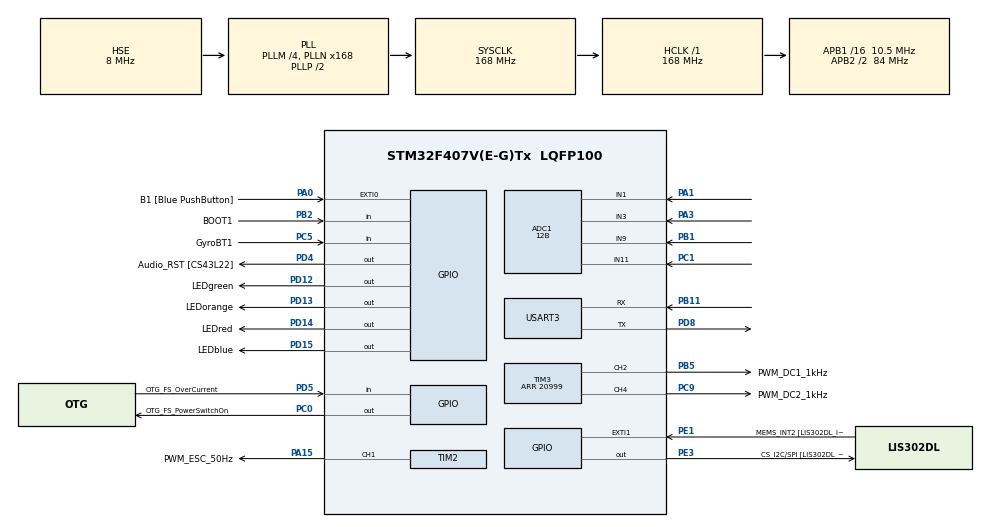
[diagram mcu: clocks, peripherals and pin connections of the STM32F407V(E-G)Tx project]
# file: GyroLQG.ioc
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ADC1.Channel-0\#ChannelRegularConversion=ADC_CHANNEL_1
ADC1.Channel-4\#ChannelRegularConversion=ADC_CHANNEL_3
ADC1.Channel-5\#ChannelRegularConversion=ADC_CHANNEL_9
ADC1.Channel-6\#ChannelRegularConversion=ADC_CHANNEL_11
ADC1.ClockPrescaler=ADC_CLOCK_SYNC_PCLK_DIV4
ADC1.ContinuousConvMode=ENABLE
ADC1.DMAContinuousRequests=ENABLE
ADC1.DataAlign=ADC_DATAALIGN_RIGHT
ADC1.DiscontinuousConvMode=DISABLE
ADC1.EOCSelection=ADC_EOC_SINGLE_CONV
ADC1.EnableAnalogWatchDog=false
ADC1.ExternalTrigConv=ADC_SOFTWARE_START
ADC1.ExternalTrigConvEdge=ADC_EXTERNALTRIGCONVEDGE_NONE
ADC1.InjNumberOfConversion=0
ADC1.NbrOfConversion=4
ADC1.NbrOfConversionFlag=1
ADC1.Rank-0\#ChannelRegularConversion=1
ADC1.Rank-4\#ChannelRegularConversion=2
ADC1.Rank-5\#ChannelRegularConversion=3
ADC1.Rank-6\#ChannelRegularConversion=4
ADC1.Resolution=ADC_RESOLUTION_12B
ADC1.SamplingTime-0\#ChannelRegularConversion=ADC_SAMPLETIME_3CYCLES
ADC1.SamplingTime-4\#ChannelRegularConversion=ADC_SAMPLETIME_3CYCLES
ADC1.SamplingTime-5\#ChannelRegularConversion=ADC_SAMPLETIME_3CYCLES
ADC1.SamplingTime-6\#ChannelRegularConversion=ADC_SAMPLETIME_3CYCLES
ADC1.ScanConvMode=ENABLE
ADC1.master=1
Dma.ADC1.0.Direction=DMA_PERIPH_TO_MEMORY
Dma.ADC1.0.FIFOMode=DMA_FIFOMODE_ENABLE
Dma.ADC1.0.FIFOThreshold=DMA_FIFO_THRESHOLD_HALFFULL
Dma.ADC1.0.Instance=DMA2_Stream0
Dma.ADC1.0.MemBurst=DMA_MBURST_SINGLE
Dma.ADC1.0.MemDataAlignment=DMA_MDATAALIGN_HALFWORD
Dma.ADC1.0.MemInc=DMA_MINC_ENABLE
Dma.ADC1.0.Mode=DMA_CIRCULAR
Dma.ADC1.0.PeriphBurst=DMA_PBURST_SINGLE
Dma.ADC1.0.PeriphDataAlignment=DMA_PDATAALIGN_HALFWORD
Dma.ADC1.0.PeriphInc=DMA_PINC_DISABLE
Dma.ADC1.0.Priority=DMA_PRIORITY_VERY_HIGH
Dma.Request0=ADC1
Mcu.Family=STM32F4
Mcu.Name=STM32F407V(E-G)Tx
Mcu.Package=LQFP100
NVIC.DMA2_Stream0_IRQn=true\:0\:0\:false\:false\:true
NVIC.PriorityGroup=NVIC_PRIORITYGROUP_0
PA0-WKUP.GPIO_Label=B1 [Blue PushButton]
PA0-WKUP.GPIO_ModeDefaultEXTI=GPIO_MODE_EVT_RISING
PA0-WKUP.GPIO_PuPd=GPIO_NOPULL
PA0-WKUP.Signal=GPXTI0
PA1.Signal=ADCx_IN1
PA10.GPIO_Label=OTG_FS_ID
PA10.GPIO_Mode=GPIO_MODE_AF_PP
PA10.GPIO_PuPd=GPIO_NOPULL
PA10.GPIO_Speed=GPIO_SPEED_FREQ_LOW
PA10.Signal=USB_OTG_FS_ID
PA11.GPIO_Label=OTG_FS_DM
PA11.GPIO_Mode=GPIO_MODE_AF_PP
PA11.GPIO_PuPd=GPIO_NOPULL
PA11.GPIO_Speed=GPIO_SPEED_FREQ_LOW
PA11.Signal=USB_OTG_FS_DM
PA12.GPIO_Label=OTG_FS_DP
PA12.GPIO_Mode=GPIO_MODE_AF_PP
PA12.GPIO_PuPd=GPIO_NOPULL
PA12.GPIO_Speed=GPIO_SPEED_FREQ_LOW
PA12.Signal=USB_OTG_FS_DP
PA13.GPIO_Label=SWDIO
PA13.Mode=Serial_Wire
PA13.Signal=SYS_JTMS-SWDIO
PA14.GPIO_Label=SWCLK
PA14.Mode=Serial_Wire
PA14.Signal=SYS_JTCK-SWCLK
PA15.GPIO_Label=PWM_ESC_50Hz
PA15.Signal=S_TIM2_CH1_ETR
PA3.Signal=ADCx_IN3
PA4.GPIO_Label=I2S3_WS [CS43L22_LRCK]
PA4.GPIO_Mode=GPIO_MODE_AF_PP
PA4.GPIO_PuPd=GPIO_NOPULL
PA4.GPIO_Speed=GPIO_SPEED_FREQ_LOW
PA4.Signal=I2S3_WS
PA5.GPIO_Label=SPI1_SCK [LIS302DL_SCL/SPC]
PA5.GPIO_Mode=GPIO_MODE_AF_PP
PA5.GPIO_PuPd=GPIO_NOPULL
PA5.GPIO_Speed=GPIO_SPEED_FREQ_LOW
PA5.Signal=SPI1_SCK
PA6.GPIO_Label=SPI1_MISO [LIS302DL_SDO]
PA6.GPIO_Mode=GPIO_MODE_AF_PP
PA6.GPIO_PuPd=GPIO_NOPULL
PA6.GPIO_Speed=GPIO_SPEED_FREQ_LOW
PA6.Signal=SPI1_MISO
PA7.GPIO_Label=SPI1_MOSI [LIS302DL_SDA/SDI/SDO]
PA7.GPIO_Mode=GPIO_MODE_AF_PP
PA7.GPIO_PuPd=GPIO_NOPULL
PA7.GPIO_Speed=GPIO_SPEED_FREQ_LOW
PA7.Signal=SPI1_MOSI
PA9.GPIO_Label=VBUS_FS
PA9.GPIO_Mode=GPIO_MODE_INPUT
PA9.GPIO_PuPd=GPIO_NOPULL
PA9.Signal=USB_OTG_FS_VBUS
PB1.Signal=ADCx_IN9
PB10.GPIO_Label=CLK_IN [MP45DT02_CLK]
PB10.GPIO_Mode=GPIO_MODE_AF_PP
PB10.GPIO_PuPd=GPIO_NOPULL
PB10.GPIO_Speed=GPIO_SPEED_FREQ_LOW
PB10.Signal=I2S2_CK
PB11.Mode=Asynchronous
PB11.Signal=USART3_RX
PB2.GPIO_Label=BOOT1
PB2.GPIO_Mode=GPIO_MODE_INPUT
PB2.GPIO_PuPd=GPIO_NOPULL
PB2.Signal=GPIO_Input
PB3.GPIO_Label=SWO
PB3.Signal=SYS_JTDO-SWO
PB5.GPIO_Label=PWM_DC1_1kHz
PB5.Signal=S_TIM3_CH2
PB6.GPIO_Label=Audio_SCL [CS43L22_SCL]
PB6.GPIO_Mode=GPIO_MODE_AF_OD
PB6.GPIO_PuPd=GPIO_NOPULL
PB6.GPIO_Speed=GPIO_SPEED_FREQ_LOW
PB6.Signal=I2C1_SCL
PB9.GPIO_Label=Audio_SDA [CS43L22_SDA]
PB9.GPIO_Mode=GPIO_MODE_AF_OD
PB9.GPIO_PuPd=GPIO_NOPULL
PB9.GPIO_Speed=GPIO_SPEED_FREQ_LOW
PB9.Signal=I2C1_SDA
PC0.GPIO_Label=OTG_FS_PowerSwitchOn
PC0.GPIO_PuPd=GPIO_NOPULL
PC0.GPIO_Speed=GPIO_SPEED_FREQ_LOW
PC0.PinState=GPIO_PIN_SET
PC0.Signal=GPIO_Output
PC1.Signal=ADCx_IN11
PC10.GPIO_Label=I2S3_SCK [CS43L22_SCLK]
PC10.GPIO_Mode=GPIO_MODE_AF_PP
PC10.GPIO_PuPd=GPIO_NOPULL
PC10.GPIO_Speed=GPIO_SPEED_FREQ_LOW
PC10.Signal=I2S3_CK
PC12.GPIO_Label=I2S3_SD [CS43L22_SDIN]
PC12.GPIO_Mode=GPIO_MODE_AF_PP
PC12.GPIO_PuPd=GPIO_NOPULL
PC12.GPIO_Speed=GPIO_SPEED_FREQ_LOW
PC12.Signal=I2S3_SD
PC14-OSC32_IN.GPIO_Label=PC14-OSC32_IN
PC14-OSC32_IN.Signal=RCC_OSC32_IN
PC15-OSC32_OUT.GPIO_Label=PC15-OSC32_OUT
PC15-OSC32_OUT.Signal=RCC_OSC32_OUT
PC3.GPIO_Label=PDM_OUT [MP45DT02_DOUT]
PC3.GPIO_Mode=GPIO_MODE_AF_PP
PC3.GPIO_PuPd=GPIO_NOPULL
PC3.GPIO_Speed=GPIO_SPEED_FREQ_LOW
PC3.Signal=I2S2_SD
PC5.GPIO_Label=GyroBT1
PC5.GPIO_PuPd=GPIO_PULLDOWN
PC5.Signal=GPIO_Input
PC7.GPIO_Label=I2S3_MCK [CS43L22_MCLK]
PC7.GPIO_Mode=GPIO_MODE_AF_PP
PC7.GPIO_PuPd=GPIO_NOPULL
PC7.GPIO_Speed=GPIO_SPEED_FREQ_LOW
PC7.Signal=I2S3_MCK
PC9.GPIO_Label=PWM_DC2_1kHz
PC9.Signal=S_TIM3_CH4
PD12.GPIO_Label=LEDgreen
PD12.GPIO_PuPd=GPIO_PULLUP
PD12.GPIO_Speed=GPIO_SPEED_FREQ_LOW
PD12.Signal=GPIO_Output
PD13.GPIO_Label=LEDorange
PD13.GPIO_PuPd=GPIO_PULLUP
PD13.GPIO_Speed=GPIO_SPEED_FREQ_LOW
PD13.Signal=GPIO_Output
PD14.GPIO_Label=LEDred
PD14.GPIO_PuPd=GPIO_PULLUP
PD14.GPIO_Speed=GPIO_SPEED_FREQ_LOW
PD14.Signal=GPIO_Output
PD15.GPIO_Label=LEDblue
PD15.GPIO_PuPd=GPIO_PULLUP
PD15.GPIO_Speed=GPIO_SPEED_FREQ_LOW
PD15.Signal=GPIO_Output
PD4.GPIO_Label=Audio_RST [CS43L22]
PD4.GPIO_PuPd=GPIO_NOPULL
PD4.GPIO_Speed=GPIO_SPEED_FREQ_LOW
PD4.Signal=GPIO_Output
PD5.GPIO_Label=OTG_FS_OverCurrent
PD5.GPIO_Mode=GPIO_MODE_INPUT
PD5.GPIO_PuPd=GPIO_NOPULL
PD5.Signal=GPIO_Input
PD8.Mode=Asynchronous
PD8.Signal=USART3_TX
PE1.GPIO_Label=MEMS_INT2 [LIS302DL_INT2]
PE1.GPIO_ModeDefaultEXTI=GPIO_MODE_EVT_RISING
PE1.GPIO_PuPd=GPIO_NOPULL
PE1.Signal=GPXTI1
PE3.GPIO_Label=CS_I2C/SPI [LIS302DL_CS_I2C/SPI]
PE3.GPIO_PuPd=GPIO_NOPULL
PE3.GPIO_Speed=GPIO_SPEED_FREQ_LOW
PE3.Signal=GPIO_Output
PH0-OSC_IN.GPIO_Label=PH0-OSC_IN
PH0-OSC_IN.Mode=HSE-External-Oscillator
PH0-OSC_IN.Signal=RCC_OSC_IN
PH1-OSC_OUT.GPIO_Label=PH1-OSC_OUT
PH1-OSC_OUT.Mode=HSE-External-Oscillator
PH1-OSC_OUT.Signal=RCC_OSC_OUT
ProjectManager.HeapSize=0x200
ProjectManager.StackSize=0x400
ProjectManager.TargetToolchain=EWARM
RCC.48MHZClocksFreq_Value=48000000
RCC.AHBFreq_Value=168000000
RCC.APB1CLKDivider=RCC_HCLK_DIV16
RCC.APB1Freq_Value=10500000
RCC.APB1TimFreq_Value=21000000
RCC.APB2CLKDivider=RCC_HCLK_DIV2
RCC.APB2Freq_Value=84000000
RCC.APB2TimFreq_Value=168000000
RCC.CortexFreq_Value=168000000
RCC.HCLKFreq_Value=168000000
RCC.HSE_VALUE=8000000
RCC.HSI_VALUE=16000000
RCC.LSE_VALUE=32768
RCC.PLLM=4
RCC.PLLN=168
RCC.PLLQ=7
RCC.PLLSourceVirtual=RCC_PLLSOURCE_HSE
RCC.SYSCLKFreq_VALUE=168000000
RCC.SYSCLKSource=RCC_SYSCLKSOURCE_PLLCLK
RCC.VCOOutputFreq_Value=336000000
SH.ADCx_IN1.0=ADC1_IN1,IN1
SH.ADCx_IN11.0=ADC1_IN11,IN11
SH.ADCx_IN3.0=ADC1_IN3,IN3
SH.ADCx_IN9.0=ADC1_IN9,IN9
SH.S_TIM2_CH1_ETR.0=TIM2_CH1,PWM Generation1 CH1
SH.S_TIM3_CH2.0=TIM3_CH2,PWM Generation2 CH2
SH.S_TIM3_CH4.0=TIM3_CH4,PWM Generation4 CH4
TIM2.Channel-PWM\ Generation1\ CH1=TIM_CHANNEL_1
TIM2.ClockDivision=TIM_CLOCKDIVISION_DIV4
TIM2.Period=419999
TIM3.Channel-PWM\ Generation2\ CH2=TIM_CHANNEL_2
TIM3.Channel-PWM\ Generation4\ CH4=TIM_CHANNEL_4
TIM3.ClockDivision=TIM_CLOCKDIVISION_DIV4
TIM3.Period=20999
USART3.VirtualMode=VM_ASYNC
board=STM32F4DISCOVERY

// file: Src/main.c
/**
  ******************************************************************************
  * File Name          : main.c
  * Description        : Main program body
  ******************************************************************************
  ** This notice applies to any and all portions of this file
  * that are not between comment pairs USER CODE BEGIN and
  * USER CODE END. Other portions of this file, whether
  * inserted by the user or by software development tools
  * are owned by their respective copyright owners.
  *
  * COPYRIGHT(c) 2018 STMicroelectronics
  *
  * Redistribution and use in source and binary forms, with or without modification,
  * are permitted provided that the following conditions are met:
  *   1. Redistributions of source code must retain the above copyright notice,
  *      this list of conditions and the following disclaimer.
  *   2. Redistributions in binary form must reproduce the above copyright notice,
  *      this list of conditions and the following disclaimer in the documentation
  *      and/or other materials provided with the distribution.
  *   3. Neither the name of STMicroelectronics nor the names of its contributors
  *      may be used to endorse or promote products derived from this software
  *      without specific prior written permission.
  *
  * THIS SOFTWARE IS PROVIDED BY THE COPYRIGHT HOLDERS AND CONTRIBUTORS "AS IS"
  * AND ANY EXPRESS OR IMPLIED WARRANTIES, INCLUDING, BUT NOT LIMITED TO, THE
  * IMPLIED WARRANTIES OF MERCHANTABILITY AND FITNESS FOR A PARTICULAR PURPOSE ARE
  * DISCLAIMED. IN NO EVENT SHALL THE COPYRIGHT HOLDER OR CONTRIBUTORS BE LIABLE
  * FOR ANY DIRECT, INDIRECT, INCIDENTAL, SPECIAL, EXEMPLARY, OR CONSEQUENTIAL
  * DAMAGES (INCLUDING, BUT NOT LIMITED TO, PROCUREMENT OF SUBSTITUTE GOODS OR
  * SERVICES; LOSS OF USE, DATA, OR PROFITS; OR BUSINESS INTERRUPTION) HOWEVER
  * CAUSED AND ON ANY THEORY OF LIABILITY, WHETHER IN CONTRACT, STRICT LIABILITY,
  * OR TORT (INCLUDING NEGLIGENCE OR OTHERWISE) ARISING IN ANY WAY OUT OF THE USE
  * OF THIS SOFTWARE, EVEN IF ADVISED OF THE POSSIBILITY OF SUCH DAMAGE.
  *
  ******************************************************************************
  */
#include "main.h"
#include "stm32f4xx_hal.h"

/* USER CODE BEGIN Includes */

#include <stdio.h>
/* Private function prototypes -----------------------------------------------*/
#ifdef __GNUC__
  /* With GCC/RAISONANCE, small printf (option LD Linker->Libraries->Small printf
     set to 'Yes') calls __io_putchar() */
  #define PUTCHAR_PROTOTYPE int __io_putchar(int ch)
#else
  #define PUTCHAR_PROTOTYPE int fputc(int ch, FILE *f)
#endif /* __GNUC__ */

/* USER CODE END Includes */

ADC_HandleTypeDef hadc1;
DMA_HandleTypeDef hdma_adc1;

TIM_HandleTypeDef htim2;
TIM_HandleTypeDef htim3;

UART_HandleTypeDef huart3;

/* USER CODE BEGIN PV */
/* Private variables ---------------------------------------------------------*/

#define WORKING 1
#define STOP 0
#define PAUSE 2
#define THUAN 1
#define NGHICH 0
#define HIGH 1
#define LOW 0

const float STOPSPEED = 5;
const float MAXSPEED = 6.06; //% or 6.06%
const float pi = 3.1416;
const int16_t deltaTime = 20;
const float offsetA = 0; // calib here
const float offsetT = -10; // don't change this parameter
const uint16_t sample1 = 800;
const uint16_t sample2 = 1200;
const uint32_t samplePWM2 = 419999;
const uint16_t samplePWM3 = 20999;

uint32_t e, cou;
uint8_t gimbal = STOP;
uint8_t state = STOP;
uint8_t chieuQuay = THUAN;
int32_t suppliedVolt = 0;
int8_t voltage = 0;
float thetaR = 0;
float alphaR = 0;
float thetaD = 0;
float alphaD = 0;
__IO uint32_t t;
__IO uint8_t m;
__IO uint16_t ADC_Value[4];

float x1 [5] = { 0,
          0,
          0,
          0,
          0};
/*
float Ak [5][5] = {-0025.8,    0001.0,    0001.7,         .0,         0,
					0029.6,         .0,    0000.9,    0009.4,         0,
					0001.7,         .0,   -0025.7,    0001.0,         0,
					0084.7,   -3323.1,   -0012.5,   -0533.3,    5119.1,
				   -0000.3,         .0,   -0000.6,   -0000.0,   -0027.5};

float Bk [5][3] = {     0  , 25.8188 ,  -1.6601 ,
						 0 ,  14.6838,   -0.8896,
						 0 ,  -1.6601,   25.7339,
						 0 , -84.6924,   12.4950,
					1.4925 ,   0.2951,    0.6406};

float Kf [5] = {44.7, 2, -4.47, 0.019, 3.3};
*/

float Ak [5][5] = {   {-90,   1,    0.8,  0,    0},
                      {4.6,  0,    2.9,  6.7,  0},
                      {0.8,  0,    -90,  1,    0},
                      {140, -2373, -71, -533, 5119},
                      {-1.4,  0,    -5.4, 0,    -27.5}};

float Bk [5][3] = { {0,   90,  -0.8},
                    {0,   40,  -2.9},
                    {0,   -0.8,  90},
                    {0,   -141, 70.8},
                    {1.49,  1.4, 5.4}};

float Kf [5] = { 44.7, 2, -4.47, 0.019, 3.3};

/* USER CODE END PV */

void SystemClock_Config(void);
static void MX_GPIO_Init(void);
static void MX_DMA_Init(void);
static void MX_TIM2_Init(void);
static void MX_ADC1_Init(void);
static void MX_USART3_UART_Init(void);
static void MX_TIM3_Init(void);

void HAL_TIM_MspPostInit(TIM_HandleTypeDef *htim);

/* USER CODE BEGIN PFP */
/* Private function prototypes -----------------------------------------------*/
void HAL_SYSTICK_Callback(void);
int8_t LQGcalculating(int16_t voltage_U);
void buttonSet(void);
void GetAnglePotentio (void);
void SendAngles(void);
void pauseGimbal(void);
void controlDC(int8_t voltage_U);
void calibrationForGimbal();
void startBLDC(void);
void stopBLDC(void);
void QuayNghich(int8_t voltage_U);
void QuayThuan(int8_t voltage_U);
void Delay (uint32_t count);

/* USER CODE END PFP */

int main(void)
{

  /* MCU Configuration----------------------------------------------------------*/

  /* Reset of all peripherals, Initializes the Flash interface and the Systick. */
  HAL_Init();

  /* Configure the system clock */
  SystemClock_Config();

  /* Initialize all configured peripherals */
  MX_GPIO_Init();
  MX_DMA_Init();
  MX_TIM2_Init();
  MX_ADC1_Init();
  MX_USART3_UART_Init();
  MX_TIM3_Init();

  /* USER CODE BEGIN 2 */
  /***************************************************************************/
  // PWM configuration
    HAL_TIM_PWM_Start(&htim2, TIM_CHANNEL_1);
    HAL_TIM_PWM_Start(&htim3, TIM_CHANNEL_2);
    HAL_TIM_PWM_Start(&htim3, TIM_CHANNEL_4);
    HAL_TIMEx_PWMN_Start(&htim2, TIM_CHANNEL_1);
    HAL_TIMEx_PWMN_Start(&htim3, TIM_CHANNEL_2);
    HAL_TIMEx_PWMN_Start(&htim3, TIM_CHANNEL_4);

    // ESC 5% -> 10% PWM 50Hz
    // 140rps -> 6.0%
    TIM2->CCR1 = (int)(STOPSPEED*samplePWM2/100); // 5%
    TIM3->CCR2 = 0*samplePWM3/100; // 0%
    TIM3->CCR4 = 0*samplePWM3/100; // 0%

    // ADC configuration
    HAL_ADC_Start_DMA(&hadc1, (uint32_t*)&ADC_Value, 4);

    // This Blue led will be used for comparison of ADC sampling process
    // It should be brighter than when MCU sampling ( right after 0.1s )
    // It should be checked by oxiloscope with duty cycle smaller than 70%
    HAL_GPIO_WritePin(GPIOD, LEDblue_Pin, GPIO_PIN_SET);
    Delay(300);
    HAL_GPIO_WritePin(GPIOD, LEDgreen_Pin, GPIO_PIN_SET);
    Delay(300);
    HAL_GPIO_WritePin(GPIOD, LEDorange_Pin, GPIO_PIN_SET);
    Delay(300);
    HAL_GPIO_WritePin(GPIOD, LEDred_Pin, GPIO_PIN_SET);
    Delay(500);
    HAL_GPIO_WritePin(GPIOD, LEDgreen_Pin | LEDorange_Pin | LEDred_Pin | LEDblue_Pin, GPIO_PIN_SET);
    Delay(100);
    /**************************************************/
  /* USER CODE END 2 */

  /* Infinite loop */
  /* USER CODE BEGIN WHILE */
    /**************************************************/
    while (1){
        if ( state == STOP ){
            calibrationForGimbal();

            // Green Led will be used for adjustment of theta
            if ( thetaD < 0.2 && thetaD > -0.2 )
                HAL_GPIO_WritePin(GPIOD, LEDgreen_Pin, GPIO_PIN_SET);
            else
                HAL_GPIO_WritePin(GPIOD, LEDgreen_Pin, GPIO_PIN_RESET);
        }
        buttonSet();
  /* USER CODE END WHILE */

  /* USER CODE BEGIN 3 */

  }
  /***************************************************************************/
  /* USER CODE END 3 */

}

/** System Clock Configuration
*/
void SystemClock_Config(void)
{

  RCC_OscInitTypeDef RCC_OscInitStruct;
  RCC_ClkInitTypeDef RCC_ClkInitStruct;

    /**Configure the main internal regulator output voltage
    */
  __HAL_RCC_PWR_CLK_ENABLE();

  __HAL_PWR_VOLTAGESCALING_CONFIG(PWR_REGULATOR_VOLTAGE_SCALE1);

    /**Initializes the CPU, AHB and APB busses clocks
    */
  RCC_OscInitStruct.OscillatorType = RCC_OSCILLATORTYPE_HSE;
  RCC_OscInitStruct.HSEState = RCC_HSE_ON;
  RCC_OscInitStruct.PLL.PLLState = RCC_PLL_ON;
  RCC_OscInitStruct.PLL.PLLSource = RCC_PLLSOURCE_HSE;
  RCC_OscInitStruct.PLL.PLLM = 4;
  RCC_OscInitStruct.PLL.PLLN = 168;
  RCC_OscInitStruct.PLL.PLLP = RCC_PLLP_DIV2;
  RCC_OscInitStruct.PLL.PLLQ = 7;
  if (HAL_RCC_OscConfig(&RCC_OscInitStruct) != HAL_OK)
  {
    _Error_Handler(__FILE__, __LINE__);
  }

    /**Initializes the CPU, AHB and APB busses clocks
    */
  RCC_ClkInitStruct.ClockType = RCC_CLOCKTYPE_HCLK|RCC_CLOCKTYPE_SYSCLK
                              |RCC_CLOCKTYPE_PCLK1|RCC_CLOCKTYPE_PCLK2;
  RCC_ClkInitStruct.SYSCLKSource = RCC_SYSCLKSOURCE_PLLCLK;
  RCC_ClkInitStruct.AHBCLKDivider = RCC_SYSCLK_DIV1;
  RCC_ClkInitStruct.APB1CLKDivider = RCC_HCLK_DIV16;
  RCC_ClkInitStruct.APB2CLKDivider = RCC_HCLK_DIV2;

  if (HAL_RCC_ClockConfig(&RCC_ClkInitStruct, FLASH_LATENCY_5) != HAL_OK)
  {
    _Error_Handler(__FILE__, __LINE__);
  }

    /**Configure the Systick interrupt time
    */
  HAL_SYSTICK_Config(HAL_RCC_GetHCLKFreq()/1000);

    /**Configure the Systick
    */
  HAL_SYSTICK_CLKSourceConfig(SYSTICK_CLKSOURCE_HCLK);

  /* SysTick_IRQn interrupt configuration */
  HAL_NVIC_SetPriority(SysTick_IRQn, 0, 0);
}

/* ADC1 init function */
static void MX_ADC1_Init(void)
{

  ADC_ChannelConfTypeDef sConfig;

    /**Configure the global features of the ADC (Clock, Resolution, Data Alignment and number of conversion)
    */
  hadc1.Instance = ADC1;
  hadc1.Init.ClockPrescaler = ADC_CLOCK_SYNC_PCLK_DIV4;
  hadc1.Init.Resolution = ADC_RESOLUTION_12B;
  hadc1.Init.ScanConvMode = ENABLE;
  hadc1.Init.ContinuousConvMode = ENABLE;
  hadc1.Init.DiscontinuousConvMode = DISABLE;
  hadc1.Init.ExternalTrigConvEdge = ADC_EXTERNALTRIGCONVEDGE_NONE;
  hadc1.Init.ExternalTrigConv = ADC_SOFTWARE_START;
  hadc1.Init.DataAlign = ADC_DATAALIGN_RIGHT;
  hadc1.Init.NbrOfConversion = 4;
  hadc1.Init.DMAContinuousRequests = ENABLE;
  hadc1.Init.EOCSelection = ADC_EOC_SINGLE_CONV;
  if (HAL_ADC_Init(&hadc1) != HAL_OK)
  {
    _Error_Handler(__FILE__, __LINE__);
  }

    /**Configure for the selected ADC regular channel its corresponding rank in the sequencer and its sample time.
    */
  sConfig.Channel = ADC_CHANNEL_1;
  sConfig.Rank = 1;
  sConfig.SamplingTime = ADC_SAMPLETIME_3CYCLES;
  if (HAL_ADC_ConfigChannel(&hadc1, &sConfig) != HAL_OK)
  {
    _Error_Handler(__FILE__, __LINE__);
  }

    /**Configure for the selected ADC regular channel its corresponding rank in the sequencer and its sample time.
    */
  sConfig.Channel = ADC_CHANNEL_3;
  sConfig.Rank = 2;
  if (HAL_ADC_ConfigChannel(&hadc1, &sConfig) != HAL_OK)
  {
    _Error_Handler(__FILE__, __LINE__);
  }

    /**Configure for the selected ADC regular channel its corresponding rank in the sequencer and its sample time.
    */
  sConfig.Channel = ADC_CHANNEL_9;
  sConfig.Rank = 3;
  if (HAL_ADC_ConfigChannel(&hadc1, &sConfig) != HAL_OK)
  {
    _Error_Handler(__FILE__, __LINE__);
  }

    /**Configure for the selected ADC regular channel its corresponding rank in the sequencer and its sample time.
    */
  sConfig.Channel = ADC_CHANNEL_11;
  sConfig.Rank = 4;
  if (HAL_ADC_ConfigChannel(&hadc1, &sConfig) != HAL_OK)
  {
    _Error_Handler(__FILE__, __LINE__);
  }

}

/* TIM2 init function */
static void MX_TIM2_Init(void)
{

  TIM_MasterConfigTypeDef sMasterConfig;
  TIM_OC_InitTypeDef sConfigOC;

  htim2.Instance = TIM2;
  htim2.Init.Prescaler = 0;
  htim2.Init.CounterMode = TIM_COUNTERMODE_UP;
  htim2.Init.Period = 419999;
  htim2.Init.ClockDivision = TIM_CLOCKDIVISION_DIV4;
  if (HAL_TIM_PWM_Init(&htim2) != HAL_OK)
  {
    _Error_Handler(__FILE__, __LINE__);
  }

  sMasterConfig.MasterOutputTrigger = TIM_TRGO_RESET;
  sMasterConfig.MasterSlaveMode = TIM_MASTERSLAVEMODE_DISABLE;
  if (HAL_TIMEx_MasterConfigSynchronization(&htim2, &sMasterConfig) != HAL_OK)
  {
    _Error_Handler(__FILE__, __LINE__);
  }

  sConfigOC.OCMode = TIM_OCMODE_PWM1;
  sConfigOC.Pulse = 0;
  sConfigOC.OCPolarity = TIM_OCPOLARITY_HIGH;
  sConfigOC.OCFastMode = TIM_OCFAST_DISABLE;
  if (HAL_TIM_PWM_ConfigChannel(&htim2, &sConfigOC, TIM_CHANNEL_1) != HAL_OK)
  {
    _Error_Handler(__FILE__, __LINE__);
  }

  HAL_TIM_MspPostInit(&htim2);

}

/* TIM3 init function */
static void MX_TIM3_Init(void)
{

  TIM_MasterConfigTypeDef sMasterConfig;
  TIM_OC_InitTypeDef sConfigOC;

  htim3.Instance = TIM3;
  htim3.Init.Prescaler = 0;
  htim3.Init.CounterMode = TIM_COUNTERMODE_UP;
  htim3.Init.Period = 20999;
  htim3.Init.ClockDivision = TIM_CLOCKDIVISION_DIV4;
  if (HAL_TIM_PWM_Init(&htim3) != HAL_OK)
  {
    _Error_Handler(__FILE__, __LINE__);
  }

  sMasterConfig.MasterOutputTrigger = TIM_TRGO_RESET;
  sMasterConfig.MasterSlaveMode = TIM_MASTERSLAVEMODE_DISABLE;
  if (HAL_TIMEx_MasterConfigSynchronization(&htim3, &sMasterConfig) != HAL_OK)
  {
    _Error_Handler(__FILE__, __LINE__);
  }

  sConfigOC.OCMode = TIM_OCMODE_PWM1;
  sConfigOC.Pulse = 0;
  sConfigOC.OCPolarity = TIM_OCPOLARITY_HIGH;
  sConfigOC.OCFastMode = TIM_OCFAST_DISABLE;
  if (HAL_TIM_PWM_ConfigChannel(&htim3, &sConfigOC, TIM_CHANNEL_2) != HAL_OK)
  {
    _Error_Handler(__FILE__, __LINE__);
  }

  if (HAL_TIM_PWM_ConfigChannel(&htim3, &sConfigOC, TIM_CHANNEL_4) != HAL_OK)
  {
    _Error_Handler(__FILE__, __LINE__);
  }

  HAL_TIM_MspPostInit(&htim3);

}

/* USART3 init function */
static void MX_USART3_UART_Init(void)
{

  huart3.Instance = USART3;
  huart3.Init.BaudRate = 115200;
  huart3.Init.WordLength = UART_WORDLENGTH_8B;
  huart3.Init.StopBits = UART_STOPBITS_1;
  huart3.Init.Parity = UART_PARITY_NONE;
  huart3.Init.Mode = UART_MODE_TX_RX;
  huart3.Init.HwFlowCtl = UART_HWCONTROL_NONE;
  huart3.Init.OverSampling = UART_OVERSAMPLING_16;
  if (HAL_UART_Init(&huart3) != HAL_OK)
  {
    _Error_Handler(__FILE__, __LINE__);
  }

}

static void MX_DMA_Init(void)
{
  /* DMA controller clock enable */
  __HAL_RCC_DMA2_CLK_ENABLE();

  /* DMA interrupt init */
  /* DMA2_Stream0_IRQn interrupt configuration */
  HAL_NVIC_SetPriority(DMA2_Stream0_IRQn, 0, 0);
  HAL_NVIC_EnableIRQ(DMA2_Stream0_IRQn);

}

/** Configure pins as
        * Analog
        * Input
        * Output
        * EVENT_OUT
        * EXTI
     PC3   ------> I2S2_SD
     PA4   ------> I2S3_WS
     PA5   ------> SPI1_SCK
     PA6   ------> SPI1_MISO
     PA7   ------> SPI1_MOSI
     PB10   ------> I2S2_CK
     PC7   ------> I2S3_MCK
     PA9   ------> USB_OTG_FS_VBUS
     PA10   ------> USB_OTG_FS_ID
     PA11   ------> USB_OTG_FS_DM
     PA12   ------> USB_OTG_FS_DP
     PC10   ------> I2S3_CK
     PC12   ------> I2S3_SD
     PB6   ------> I2C1_SCL
     PB9   ------> I2C1_SDA
*/
static void MX_GPIO_Init(void)
{

  GPIO_InitTypeDef GPIO_InitStruct;

  /* GPIO Ports Clock Enable */
  __HAL_RCC_GPIOE_CLK_ENABLE();
  __HAL_RCC_GPIOC_CLK_ENABLE();
  __HAL_RCC_GPIOH_CLK_ENABLE();
  __HAL_RCC_GPIOA_CLK_ENABLE();
  __HAL_RCC_GPIOB_CLK_ENABLE();
  __HAL_RCC_GPIOD_CLK_ENABLE();

  /*Configure GPIO pin Output Level */
  HAL_GPIO_WritePin(CS_I2C_SPI_GPIO_Port, CS_I2C_SPI_Pin, GPIO_PIN_RESET);

  /*Configure GPIO pin Output Level */
  HAL_GPIO_WritePin(OTG_FS_PowerSwitchOn_GPIO_Port, OTG_FS_PowerSwitchOn_Pin, GPIO_PIN_SET);

  /*Configure GPIO pin Output Level */
  HAL_GPIO_WritePin(GPIOD, LEDgreen_Pin|LEDorange_Pin|LEDred_Pin|LEDblue_Pin
                          |Audio_RST_Pin, GPIO_PIN_RESET);

  /*Configure GPIO pin : CS_I2C_SPI_Pin */
  GPIO_InitStruct.Pin = CS_I2C_SPI_Pin;
  GPIO_InitStruct.Mode = GPIO_MODE_OUTPUT_PP;
  GPIO_InitStruct.Pull = GPIO_NOPULL;
  GPIO_InitStruct.Speed = GPIO_SPEED_FREQ_LOW;
  HAL_GPIO_Init(CS_I2C_SPI_GPIO_Port, &GPIO_InitStruct);

  /*Configure GPIO pin : OTG_FS_PowerSwitchOn_Pin */
  GPIO_InitStruct.Pin = OTG_FS_PowerSwitchOn_Pin;
  GPIO_InitStruct.Mode = GPIO_MODE_OUTPUT_PP;
  GPIO_InitStruct.Pull = GPIO_NOPULL;
  GPIO_InitStruct.Speed = GPIO_SPEED_FREQ_LOW;
  HAL_GPIO_Init(OTG_FS_PowerSwitchOn_GPIO_Port, &GPIO_InitStruct);

  /*Configure GPIO pin : PDM_OUT_Pin */
  GPIO_InitStruct.Pin = PDM_OUT_Pin;
  GPIO_InitStruct.Mode = GPIO_MODE_AF_PP;
  GPIO_InitStruct.Pull = GPIO_NOPULL;
  GPIO_InitStruct.Speed = GPIO_SPEED_FREQ_LOW;
  GPIO_InitStruct.Alternate = GPIO_AF5_SPI2;
  HAL_GPIO_Init(PDM_OUT_GPIO_Port, &GPIO_InitStruct);

  /*Configure GPIO pin : B1_Pin */
  GPIO_InitStruct.Pin = B1_Pin;
  GPIO_InitStruct.Mode = GPIO_MODE_EVT_RISING;
  GPIO_InitStruct.Pull = GPIO_NOPULL;
  HAL_GPIO_Init(B1_GPIO_Port, &GPIO_InitStruct);

  /*Configure GPIO pin : I2S3_WS_Pin */
  GPIO_InitStruct.Pin = I2S3_WS_Pin;
  GPIO_InitStruct.Mode = GPIO_MODE_AF_PP;
  GPIO_InitStruct.Pull = GPIO_NOPULL;
  GPIO_InitStruct.Speed = GPIO_SPEED_FREQ_LOW;
  GPIO_InitStruct.Alternate = GPIO_AF6_SPI3;
  HAL_GPIO_Init(I2S3_WS_GPIO_Port, &GPIO_InitStruct);

  /*Configure GPIO pins : SPI1_SCK_Pin SPI1_MISO_Pin SPI1_MOSI_Pin */
  GPIO_InitStruct.Pin = SPI1_SCK_Pin|SPI1_MISO_Pin|SPI1_MOSI_Pin;
  GPIO_InitStruct.Mode = GPIO_MODE_AF_PP;
  GPIO_InitStruct.Pull = GPIO_NOPULL;
  GPIO_InitStruct.Speed = GPIO_SPEED_FREQ_LOW;
  GPIO_InitStruct.Alternate = GPIO_AF5_SPI1;
  HAL_GPIO_Init(GPIOA, &GPIO_InitStruct);

  /*Configure GPIO pin : GyroBT1_Pin */
  GPIO_InitStruct.Pin = GyroBT1_Pin;
  GPIO_InitStruct.Mode = GPIO_MODE_INPUT;
  GPIO_InitStruct.Pull = GPIO_PULLDOWN;
  HAL_GPIO_Init(GyroBT1_GPIO_Port, &GPIO_InitStruct);

  /*Configure GPIO pin : BOOT1_Pin */
  GPIO_InitStruct.Pin = BOOT1_Pin;
  GPIO_InitStruct.Mode = GPIO_MODE_INPUT;
  GPIO_InitStruct.Pull = GPIO_NOPULL;
  HAL_GPIO_Init(BOOT1_GPIO_Port, &GPIO_InitStruct);

  /*Configure GPIO pin : CLK_IN_Pin */
  GPIO_InitStruct.Pin = CLK_IN_Pin;
  GPIO_InitStruct.Mode = GPIO_MODE_AF_PP;
  GPIO_InitStruct.Pull = GPIO_NOPULL;
  GPIO_InitStruct.Speed = GPIO_SPEED_FREQ_LOW;
  GPIO_InitStruct.Alternate = GPIO_AF5_SPI2;
  HAL_GPIO_Init(CLK_IN_GPIO_Port, &GPIO_InitStruct);

  /*Configure GPIO pins : LEDgreen_Pin LEDorange_Pin LEDred_Pin LEDblue_Pin */
  GPIO_InitStruct.Pin = LEDgreen_Pin|LEDorange_Pin|LEDred_Pin|LEDblue_Pin;
  GPIO_InitStruct.Mode = GPIO_MODE_OUTPUT_PP;
  GPIO_InitStruct.Pull = GPIO_PULLUP;
  GPIO_InitStruct.Speed = GPIO_SPEED_FREQ_LOW;
  HAL_GPIO_Init(GPIOD, &GPIO_InitStruct);

  /*Configure GPIO pins : I2S3_MCK_Pin I2S3_SCK_Pin I2S3_SD_Pin */
  GPIO_InitStruct.Pin = I2S3_MCK_Pin|I2S3_SCK_Pin|I2S3_SD_Pin;
  GPIO_InitStruct.Mode = GPIO_MODE_AF_PP;
  GPIO_InitStruct.Pull = GPIO_NOPULL;
  GPIO_InitStruct.Speed = GPIO_SPEED_FREQ_LOW;
  GPIO_InitStruct.Alternate = GPIO_AF6_SPI3;
  HAL_GPIO_Init(GPIOC, &GPIO_InitStruct);

  /*Configure GPIO pin : VBUS_FS_Pin */
  GPIO_InitStruct.Pin = VBUS_FS_Pin;
  GPIO_InitStruct.Mode = GPIO_MODE_INPUT;
  GPIO_InitStruct.Pull = GPIO_NOPULL;
  HAL_GPIO_Init(VBUS_FS_GPIO_Port, &GPIO_InitStruct);

  /*Configure GPIO pins : OTG_FS_ID_Pin OTG_FS_DM_Pin OTG_FS_DP_Pin */
  GPIO_InitStruct.Pin = OTG_FS_ID_Pin|OTG_FS_DM_Pin|OTG_FS_DP_Pin;
  GPIO_InitStruct.Mode = GPIO_MODE_AF_PP;
  GPIO_InitStruct.Pull = GPIO_NOPULL;
  GPIO_InitStruct.Speed = GPIO_SPEED_FREQ_LOW;
  GPIO_InitStruct.Alternate = GPIO_AF10_OTG_FS;
  HAL_GPIO_Init(GPIOA, &GPIO_InitStruct);

  /*Configure GPIO pin : Audio_RST_Pin */
  GPIO_InitStruct.Pin = Audio_RST_Pin;
  GPIO_InitStruct.Mode = GPIO_MODE_OUTPUT_PP;
  GPIO_InitStruct.Pull = GPIO_NOPULL;
  GPIO_InitStruct.Speed = GPIO_SPEED_FREQ_LOW;
  HAL_GPIO_Init(Audio_RST_GPIO_Port, &GPIO_InitStruct);

  /*Configure GPIO pin : OTG_FS_OverCurrent_Pin */
  GPIO_InitStruct.Pin = OTG_FS_OverCurrent_Pin;
  GPIO_InitStruct.Mode = GPIO_MODE_INPUT;
  GPIO_InitStruct.Pull = GPIO_NOPULL;
  HAL_GPIO_Init(OTG_FS_OverCurrent_GPIO_Port, &GPIO_InitStruct);

  /*Configure GPIO pins : Audio_SCL_Pin Audio_SDA_Pin */
  GPIO_InitStruct.Pin = Audio_SCL_Pin|Audio_SDA_Pin;
  GPIO_InitStruct.Mode = GPIO_MODE_AF_OD;
  GPIO_InitStruct.Pull = GPIO_PULLUP;
  GPIO_InitStruct.Speed = GPIO_SPEED_FREQ_LOW;
  GPIO_InitStruct.Alternate = GPIO_AF4_I2C1;
  HAL_GPIO_Init(GPIOB, &GPIO_InitStruct);

  /*Configure GPIO pin : MEMS_INT2_Pin */
  GPIO_InitStruct.Pin = MEMS_INT2_Pin;
  GPIO_InitStruct.Mode = GPIO_MODE_EVT_RISING;
  GPIO_InitStruct.Pull = GPIO_NOPULL;
  HAL_GPIO_Init(MEMS_INT2_GPIO_Port, &GPIO_InitStruct);

}

/* USER CODE BEGIN 4 */

/**
  * @brief  Retargets the C library printf function to the USART.
  * @param  None
  * @retval None
  */
PUTCHAR_PROTOTYPE
{
  HAL_UART_Transmit(&huart3, (uint8_t *)&ch, 1, 0xFFFF);

  return ch;
}

/*****************************************************************************/

void HAL_SYSTICK_Callback(void){
    if ( t++ > 1000){
        t = 0;
        // This Red Led will change every one second
        // It shows that this working frequency is right
        HAL_GPIO_TogglePin(GPIOD, LEDred_Pin);
    }
    if ( state == WORKING) {
      if (t == 500 || t == 0){
         HAL_GPIO_TogglePin(GPIOD, LEDgreen_Pin);
      }
    }

    // Send data via UART every 10ms
    if (++m > 10){
        SendAngles();
        m = 0;
    }

    // The blue led will change with frequency is 1kHz
    // If this led does not bright at maximum intensity,
    // It means the ADC sample quantity is acceptable
    // If this led does not bright, keep increase ADC sample
    // You should measure Blue LED signal on Oxiloscope, it should be < 70%
    HAL_GPIO_WritePin(GPIOD, LEDblue_Pin, GPIO_PIN_SET);

    // This code won't work when gimbal is paused
    if ( gimbal != PAUSE ) {
        // The MCU will read adc value every 1ms
        GetAnglePotentio();
        voltage = LQGcalculating(voltage);
    }
    if ( state == WORKING && gimbal == WORKING ){
        controlDC(voltage);
    }
    HAL_GPIO_WritePin(GPIOD, LEDblue_Pin, GPIO_PIN_RESET);
}

int8_t LQGcalculating(int16_t voltage_U){

  float u1 [3] ={voltage_U, thetaR, alphaR};
  float xDot [5] = {0,0,0,0,0};
  float v1 [5] = {0,0,0,0,0};
  float z1 [5] = {0,0,0,0,0};
  float k1 [5] = {0,0,0,0,0};
  int16_t CalculatedV = 0;

  for (int i = 0; i < 5; i++){
    for (int j = 0; j < 3; j++){
      z1[i] += Bk[i][j] * u1[j];
    }
    for (int j = 0; j < 5; j++){
      v1[i] += Ak[i][j] * x1[j];
    }
    xDot[i] = v1[i] + z1[i];
    k1[i] = xDot[i]/1000 + x1[i]; // delta time = 0.001s (=/1000)
    x1[i] = k1[i];
    CalculatedV += (int)((-1)*Kf[i] * k1[i]);
  }

  if ( CalculatedV > suppliedVolt ) return suppliedVolt;
  if ( CalculatedV < -suppliedVolt ) return -suppliedVolt;
  if ( CalculatedV > 1.5 && CalculatedV <= 3 ) return 3;
  if ( CalculatedV < -1.5 && CalculatedV >= -3 ) return -3;

  return CalculatedV;
}

void buttonSet(void){
  if (HAL_GPIO_ReadPin(GPIOC,GyroBT1_Pin) == HIGH) {
    while (HAL_GPIO_ReadPin(GPIOC,GyroBT1_Pin) == HIGH){
      Delay(10);
    }
    if (state == WORKING){
      state = STOP;
      stopBLDC();
      calibrationForGimbal();
    }
    else{
      calibrationForGimbal();
      startBLDC();
    }
  }
}

void GetAnglePotentio (void){
  // Measure supplied voltage and calirating theta
  float calibTheta = 0;
  for (int i = 0; i < sample1; i++){
    suppliedVolt += ADC_Value[2];
    calibTheta += ADC_Value[3];
  }
  suppliedVolt = (int)(suppliedVolt/sample1*6*3.3/4096);
  calibTheta = calibTheta/sample1/200;       // 4096/200 = 20; offset -10: -10+20=10 ; -10 to 10

  // 3240 = 90
  // 872 = -90
  // Adc90*a + 1 = 90
  // Adc-90*a + 1 = -90
  float alpha1 = 0;
  float theta1 = 0;
  for (int i = 0; i < sample2; i++){
    alpha1 += ADC_Value[0];
    theta1 += ADC_Value[1];
  }
  alphaD = alpha1/sample2*0.0835 - 157.5 + offsetA;
  thetaD = theta1/sample2*0.0835 - 157.5 + offsetT + calibTheta;
  alphaR = alphaD*pi/180;
  thetaR = thetaD*pi/180;
}

void SendAngles(){
    if (gimbal == STOP){
        thetaD = 0;
        alphaD = 0;
        voltage = 0;
    }
    printf("%4.1f\t%4.1f\t%4.1f\t%4.1f\t%d \n", thetaD, alphaD, x1[0]*180/pi, x1[2]*180/pi, voltage);
}

void pauseGimbal (){
  gimbal = PAUSE;
  if ( chieuQuay == NGHICH ){
      QuayThuan(suppliedVolt);
    }
    else{
      QuayNghich(suppliedVolt);
    }
  Delay(50);
  QuayNghich(0);
  gimbal = STOP;
}

// Input is voltage: negative or positive
void controlDC (int8_t voltage_U){
  if ( alphaD > -80 && alphaD < 80){
    if ( voltage_U > 0 ){
      QuayNghich(voltage_U);
    }
    else {
      QuayThuan(-voltage_U);
    }
  }
  else{
     gimbal = STOP;
     HAL_GPIO_WritePin(GPIOD, LEDorange_Pin, GPIO_PIN_SET);
     pauseGimbal();
     calibrationForGimbal();
     QuayNghich(0);
     Delay(1000);
     HAL_GPIO_WritePin(GPIOD, LEDorange_Pin, GPIO_PIN_RESET);
     gimbal = WORKING;
  }
}

// This function uses for delaay with milisecond
// The variable e will decrease every 10 clock cycles
void Delay (uint32_t count){
  while(--count > 1){
    uint32_t e = 16800;
    while(--e > 1);
  }
}

void calibrationForGimbal(){
  QuayThuan(0);
  while ( alphaD > 6 || alphaD < -6){
    HAL_GPIO_WritePin(GPIOD, LEDorange_Pin, GPIO_PIN_SET);
    GetAnglePotentio();
    if ( alphaD > 0 ){
      QuayThuan(4);
    }
    else{
      QuayNghich(4);
    }
    Delay(10);
    QuayNghich(0);
  }
  HAL_GPIO_WritePin(GPIOD, LEDorange_Pin, GPIO_PIN_RESET);
}

void startBLDC (void){
  TIM2->CCR1 = (int)(MAXSPEED*samplePWM2/100);

  HAL_GPIO_WritePin(GPIOD, LEDgreen_Pin, GPIO_PIN_SET);
  Delay(1000);

  HAL_GPIO_WritePin(GPIOD, LEDgreen_Pin, GPIO_PIN_RESET);
  Delay(29000);

  HAL_GPIO_WritePin(GPIOD, LEDgreen_Pin, GPIO_PIN_SET);
  state = WORKING;
  gimbal = WORKING;
}

void stopBLDC (void){
    QuayNghich(0);
	gimbal = STOP;
    TIM2->CCR1 = (int)(STOPSPEED*samplePWM2/100); // 5%

    HAL_GPIO_WritePin(GPIOD, LEDgreen_Pin, GPIO_PIN_RESET);
    Delay(4000);

    HAL_GPIO_WritePin(GPIOD, LEDgreen_Pin, GPIO_PIN_SET);
    Delay(1000);
    HAL_GPIO_WritePin(GPIOD, LEDgreen_Pin, GPIO_PIN_RESET);
}

void QuayNghich (int8_t voltage_U){
  chieuQuay = NGHICH;
  TIM3->CCR4 = (unsigned int)samplePWM3*voltage_U/suppliedVolt;
  TIM3->CCR2 = 0;
}

void QuayThuan (int8_t voltage_U){
  chieuQuay = THUAN;
  TIM3->CCR2 = (unsigned int)samplePWM3*voltage_U/suppliedVolt;
  TIM3->CCR4 = 0;
}
/*****************************************************************************/

/* USER CODE END 4 */

void _Error_Handler(char * file, int line)
{
  while(1)
  {
  }
}

/************************ (C) COPYRIGHT STMicroelectronics *****END OF FILE****/
